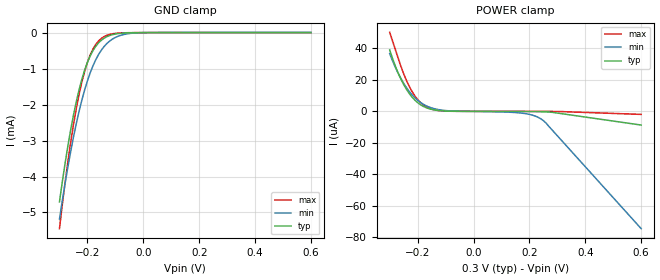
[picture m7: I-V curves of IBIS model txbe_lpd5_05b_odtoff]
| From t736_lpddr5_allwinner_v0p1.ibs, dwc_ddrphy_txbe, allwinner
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[Model] txbe_lpd5_05b_odtoff
Model_type   Input
Polarity   Non-Inverting
Enable   Active-High
C_comp   960.995fF   949.761fF   979.796fF
C_comp_pullup   293.252fF   286.411fF   298.846fF
C_comp_pulldown   546.314fF   536.484fF   557.917fF
Vinh = 310.000mV
Vinl = 190.000mV
[Model Spec]
D_overshoot_ampl_h 0.1 NA   NA
D_overshoot_ampl_l 0.1 NA   NA
D_overshoot_area_l 300.000m NA   NA
D_overshoot_area_h 300.000m NA   NA
[Receiver Thresholds]
Vth = 125.000mV
Vth_min = 118.000mV
Vth_max = 143.000mV
Vinh_ac = 60.000mV
Vinh_dc = 60.000mV
Vinl_ac = -60.000mV
Vinl_dc = -60.000mV
Tslew_ac = 5.000ns
Threshold_sensitivity = 0.5
Reference_supply Power_clamp_ref
[Temperature Range]   25.000   125.000   -40.000
[Voltage Range]   300.000mV   270.000mV   330.000mV
[GND Clamp Reference]   0.00V   0.00V   0.00V
[C Comp Corner]
| variable   typ   min   max
C_comp   960.995fF   949.761fF   979.796fF
C_comp_pullup   293.252fF   286.411fF   298.846fF
C_comp_pulldown   546.314fF   536.484fF   557.917fF
[POWER Clamp Reference]   300.000mV   270.000mV   330.000mV
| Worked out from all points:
|   GND clamp passes 1 mA (typ) near -0.21 V on its own axis
[GND Clamp]
-300mV    -4.705mA   -5.184mA   -5.45mA
-280mV    -3.637mA   -4.195mA   -4.171mA
-260mV    -2.706mA   -3.31mA    -3.055mA
-240mV    -1.926mA   -2.535mA   -2.12mA
-230mV    -1.594mA   -2.192mA   -1.724mA
-210mV    -1.047mA   -1.595mA   -1.077mA
-190mV    -647.5uA   -1.117mA   -620.1uA
-170mV    -378uA     -751.6uA   -327.4uA
-150mV    -209.3uA   -485uA     -160uA
-100mV    -39.76uA   -134.4uA   -21.3uA
-40mV     -3.382uA   -16.3uA    -1.257uA
600mV     767.2nA    6.084uA    210.1nA
[Power Clamp]
-300mV    39uA       36.66uA    50.08uA
-270mV    24.5uA     24.29uA    34.04uA
-250mV    17.08uA    17.8uA     23.88uA
-230mV    11.36uA    12.62uA    15.86uA
-210mV    7.143uA    8.635uA    9.852uA
-190mV    4.241uA    5.689uA    5.657uA
-150mV    1.265uA    2.185uA    1.435uA
-80mV     102.4nA    262.2nA    70.96nA
170mV     -72.41nA   -1.07uA    -17.79nA
240mV     -211.2nA   -4.625uA   -29.42nA
260mV     -340.8nA   -7.491uA   -37.69nA
600mV     -8.691uA   -74.4uA    -1.928uA
